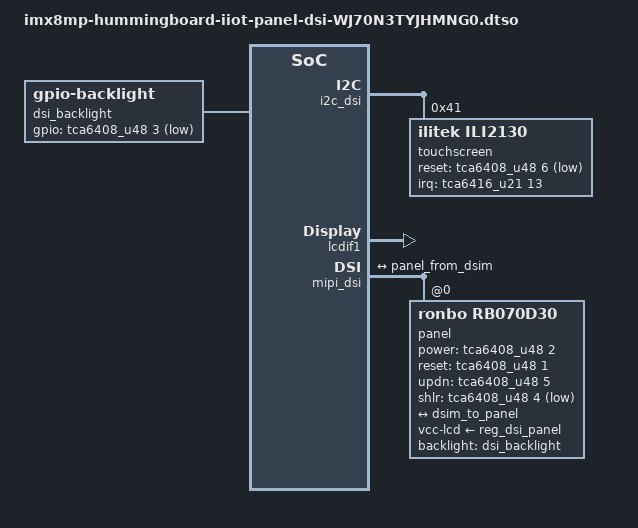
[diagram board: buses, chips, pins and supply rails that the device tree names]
// SPDX-License-Identifier: (GPL-2.0+ OR MIT)
/*
 * Copyright 2025 Josua Mayer <josua@solid-run.com>
 *
 * Overlay for enabling HummingBoard IIoT MIPI-DSI connector
 * with Winstar WJ70N3TYJHMNG0 panel.
 */

/dts-v1/;
/plugin/;

#include <dt-bindings/gpio/gpio.h>
#include <dt-bindings/interrupt-controller/irq.h>

&{/} {
	dsi_backlight: dsi-backlight {
		compatible = "gpio-backlight";
		gpios = <&tca6408_u48 3 GPIO_ACTIVE_LOW>;
	};
};

&i2c_dsi {
	#address-cells = <1>;
	#size-cells = <0>;

	touchscreen@41 {
		reg = <0x41>;
		compatible = "ilitek,ili2130";
		reset-gpios = <&tca6408_u48 6 GPIO_ACTIVE_LOW>;
		interrupts-extended = <&tca6416_u21 13 IRQ_TYPE_LEVEL_LOW>;
	};
};

&lcdif1 {
	status = "okay";
};

&mipi_dsi {
	#address-cells = <1>;
	#size-cells = <0>;
	status = "okay";

	panel@0 {
		reg = <0>;
		compatible = "ronbo,rb070d30";
		vcc-lcd-supply = <&reg_dsi_panel>;
		power-gpios = <&tca6408_u48 2 GPIO_ACTIVE_HIGH>;
		/* reset is active-low but driver inverts it internally */
		reset-gpios = <&tca6408_u48 1 GPIO_ACTIVE_HIGH>;
		updn-gpios = <&tca6408_u48 5 GPIO_ACTIVE_HIGH>;
		shlr-gpios = <&tca6408_u48 4 GPIO_ACTIVE_LOW>;
		backlight = <&dsi_backlight>;

		port {
			panel_from_dsim: endpoint {
				data-lanes = <1 2 3 4>;
				remote-endpoint = <&dsim_to_panel>;
			};
		};
	};

	port@1 {
		dsim_to_panel: endpoint {
			remote-endpoint = <&panel_from_dsim>;
			attach-bridge;
		};
	};
};
